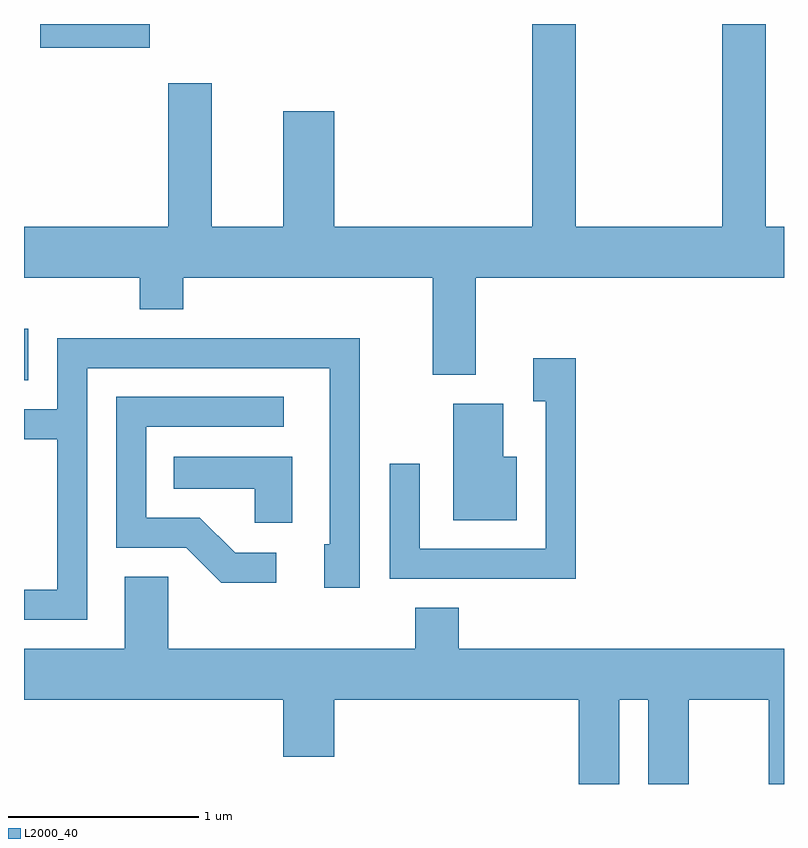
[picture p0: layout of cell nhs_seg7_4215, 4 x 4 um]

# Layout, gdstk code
import gdstk
lib = gdstk.Library(unit=1e-6, precision=1e-09)
def R(c, l, rs):  # rectangles x0, y0, x1, y1
    for r in rs: c.add(gdstk.rectangle(r[:2], r[2:], *l))
def P(c, l, *ps):  # polygons
    for p in ps: c.add(gdstk.Polygon(p, *l))
L2000_40 = (2000, 40)

nhs_seg7_4215 = lib.new_cell('nhs_seg7_4215')
R(nhs_seg7_4215, L2000_40, [(313.611,1780.376,313.634,1780.648), (313.696,1782.126,314.274,1782.252)])
P(nhs_seg7_4215, L2000_40, [(315.761,1780.406),(315.989,1780.406),(315.989,1780.916),(317.611,1780.916),(317.611,1781.184),(317.514,1781.184),(317.514,1782.252),(317.286,1782.252),(317.286,1781.184),(316.514,1781.184),(316.514,1782.252),(316.286,1782.252),(316.286,1781.184),(315.244,1781.184),(315.244,1781.794),(314.976,1781.794),(314.976,1781.184),(314.599,1781.184),(314.599,1781.939),(314.371,1781.939),(314.371,1781.184),(313.611,1781.184),(313.611,1780.916),(314.221,1780.916),(314.221,1780.751),(314.449,1780.751),(314.449,1780.916),(315.761,1780.916)],
  [(313.944,1780.441),(315.221,1780.441),(315.221,1779.514),(315.191,1779.514),(315.191,1779.286),(315.379,1779.286),(315.379,1780.599),(313.786,1780.599),(313.786,1780.224),(313.611,1780.224),(313.611,1780.066),(313.786,1780.066),(313.786,1779.274),(313.611,1779.274),(313.611,1779.116),(313.944,1779.116)],
  [(316.514,1780.494),(316.291,1780.494),(316.291,1780.266),(316.356,1780.266),(316.356,1779.489),(315.694,1779.489),(315.694,1779.938),(315.536,1779.938),(315.536,1779.331),(316.514,1779.331)],
  [(314.938,1779.469),(314.722,1779.469),(314.537,1779.654),(314.254,1779.654),(314.254,1780.131),(314.978,1780.131),(314.978,1780.289),(314.096,1780.289),(314.096,1779.496),(314.464,1779.496),(314.649,1779.311),(314.938,1779.311)],
  [(316.204,1779.974),(316.134,1779.974),(316.134,1780.254),(315.871,1780.254),(315.871,1779.641),(316.204,1779.641)],
  [(315.024,1779.974),(314.398,1779.974),(314.398,1779.806),(314.826,1779.806),(314.826,1779.626),(315.024,1779.626)],
  [(316.531,1778.252),(316.744,1778.252),(316.744,1778.696),(316.896,1778.696),(316.896,1778.252),(317.109,1778.252),(317.109,1778.696),(317.531,1778.696),(317.531,1778.252),(317.611,1778.252),(317.611,1778.964),(315.899,1778.964),(315.899,1779.179),(315.671,1779.179),(315.671,1778.964),(314.369,1778.964),(314.369,1779.344),(314.141,1779.344),(314.141,1778.964),(313.611,1778.964),(313.611,1778.696),(314.976,1778.696),(314.976,1778.396),(315.244,1778.396),(315.244,1778.696),(316.531,1778.696)])

lib.write_gds('nhs_seg7_4215.gds')
